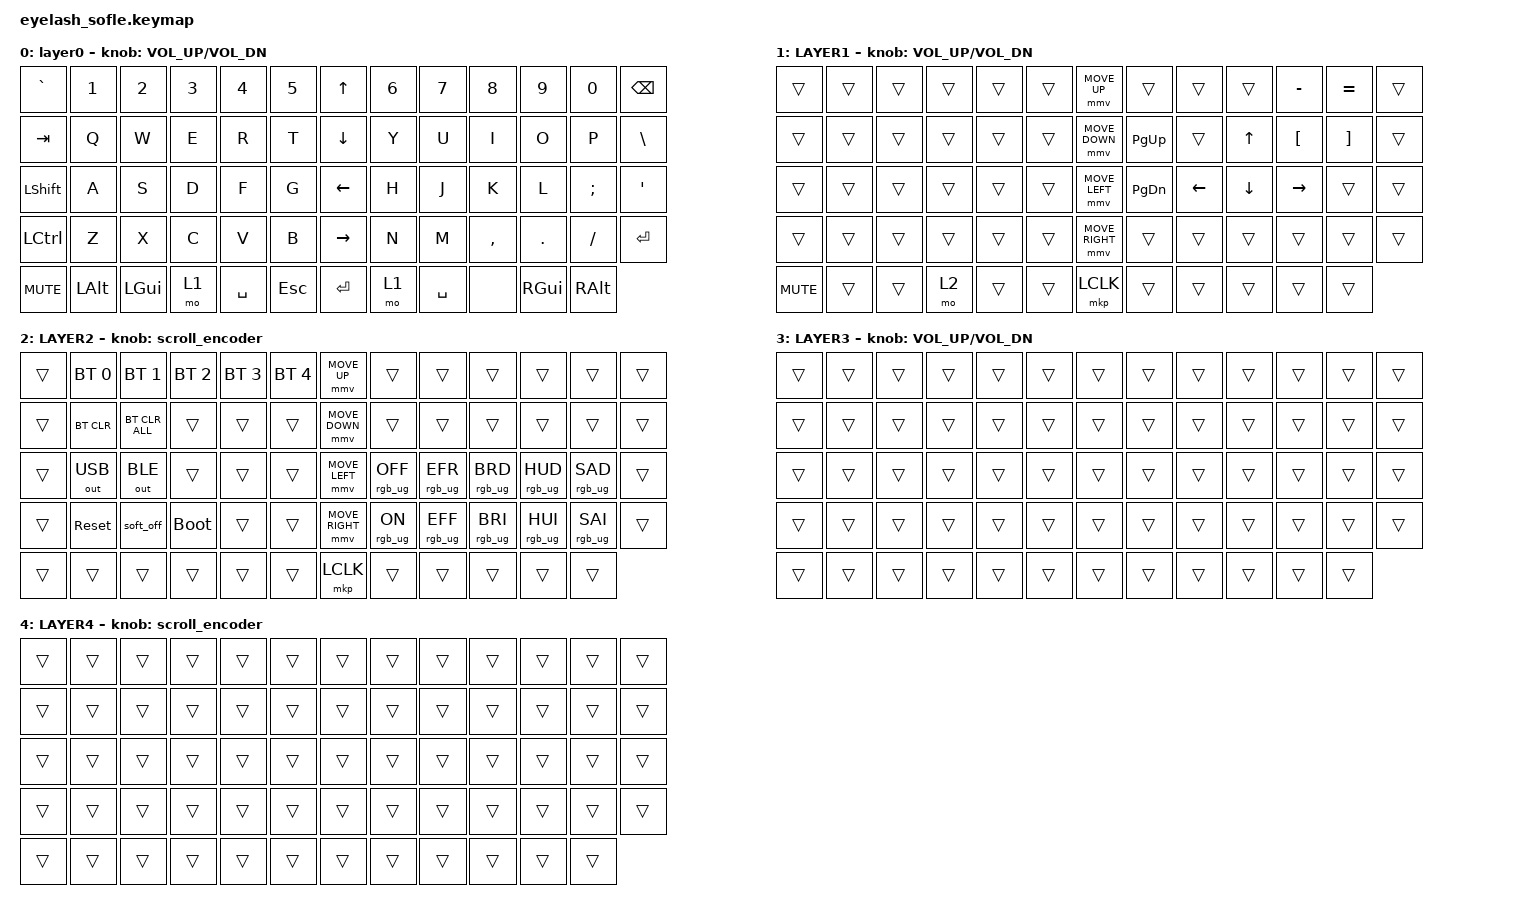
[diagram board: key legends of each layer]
#define ZMK_POINTING_DEFAULT_MOVE_VAL 1200  // 600
#define ZMK_POINTING_DEFAULT_SCRL_VAL 25   // 10

#include <input/processors.dtsi>
#include <zephyr/dt-bindings/input/input-event-codes.h>
#include <behaviors.dtsi>
#include <dt-bindings/zmk/bt.h>
#include <dt-bindings/zmk/keys.h>
#include <dt-bindings/zmk/outputs.h>
#include <dt-bindings/zmk/pointing.h>
#include <dt-bindings/zmk/rgb.h>

&mmv_input_listener { input-processors = <&zip_xy_scaler 2 1>; };

&msc_input_listener { input-processors = <&zip_scroll_scaler 2 1>; };

&msc {
    acceleration-exponent = <1>;      // 0
    time-to-max-speed-ms = <100>;       // 300
    delay-ms = <0>;                   // 0
};

&mmv {
    time-to-max-speed-ms = <500>;
    acceleration-exponent = <1>;
    trigger-period-ms = <16>;
};

&soft_off { hold-time-ms = <2000>; };

/ {
    scroll_encoder: scroll_encoder {
        compatible = "zmk,behavior-sensor-rotate";
        #sensor-binding-cells = <0>;
        bindings = <&msc SCRL_DOWN>, <&msc SCRL_UP>;

        tap-ms = <100>;
    };

    behaviors {
    };

    combos {
        compatible = "zmk,combos";

        softoff {
            bindings = <&soft_off>;
            key-positions = <14 28 40>;
        };
    };

    macros {
        SHIFT_MCLK: SHIFT_MCLK {
            compatible = "zmk,behavior-macro";
            #binding-cells = <0>;
            bindings =
                <&macro_press>,
                <&kp LEFT_SHIFT>,
                <&macro_press>,
                <&mkp MB3>,
                <&macro_pause_for_release>,
                <&macro_release>,
                <&kp LEFT_SHIFT &mkp MB3>;

            label = "SHIFT_MCLK";
        };
    };

    keymap {
        compatible = "zmk,keymap";

        layer0 {
            bindings = <
&kp GRAVE   &kp N1    &kp N2    &kp N3  &kp N4     &kp N5        &kp UP_ARROW     &kp N6  &kp N7     &kp N8     &kp N9    &kp N0    &kp BACKSPACE
&kp TAB     &kp Q     &kp W     &kp E   &kp R      &kp T         &kp DOWN_ARROW   &kp Y   &kp U      &kp I      &kp O     &kp P     &kp BSLH
&kp LSHIFT  &kp A     &kp S     &kp D   &kp F      &kp G         &kp LEFT_ARROW   &kp H   &kp J      &kp K      &kp L     &kp SEMI  &kp APOS
&kp LCTRL   &kp Z     &kp X     &kp C   &kp V      &kp B         &kp RIGHT_ARROW  &kp N   &kp M      &kp COMMA  &kp DOT   &kp FSLH  &kp ENTER
&kp C_MUTE  &kp LALT  &kp LGUI  &mo 1   &kp SPACE  &kp ESCAPE    &kp ENTER        &mo 1   &kp SPACE  &none      &kp RGUI  &kp RALT
            >;

            sensor-bindings = <&inc_dec_kp C_VOLUME_UP C_VOL_DN>;
            display-name = "layer0";
        };

        layer1 {
            bindings = <
&trans      &trans  &trans  &trans  &trans  &trans    &mmv MOVE_UP     &trans     &trans          &trans    &kp MINUS  &kp EQUAL  &trans
&trans      &trans  &trans  &trans  &trans  &trans    &mmv MOVE_DOWN   &kp PG_UP  &trans          &kp UP    &kp LBKT   &kp RBKT   &trans
&trans      &trans  &trans  &trans  &trans  &trans    &mmv MOVE_LEFT   &kp PG_DN  &kp LEFT_ARROW  &kp DOWN  &kp RIGHT  &trans     &trans
&trans      &trans  &trans  &trans  &trans  &trans    &mmv MOVE_RIGHT  &trans     &trans          &trans    &trans     &trans     &trans
&kp C_MUTE  &trans  &trans  &mo 2   &trans  &trans    &mkp LCLK        &trans     &trans          &trans    &trans     &trans
            >;

            sensor-bindings = <&inc_dec_kp C_VOLUME_UP C_VOL_DN>;
            display-name = "LAYER1";
        };

        layer2 {
            bindings = <
&trans  &bt BT_SEL 0  &bt BT_SEL 1    &bt BT_SEL 2  &bt BT_SEL 3  &bt BT_SEL 4    &mmv MOVE_UP     &trans           &trans           &trans           &trans           &trans           &trans
&trans  &bt BT_CLR    &bt BT_CLR_ALL  &trans        &trans        &trans          &mmv MOVE_DOWN   &trans           &trans           &trans           &trans           &trans           &trans
&trans  &out OUT_USB  &out OUT_BLE    &trans        &trans        &trans          &mmv MOVE_LEFT   &rgb_ug RGB_OFF  &rgb_ug RGB_EFR  &rgb_ug RGB_BRD  &rgb_ug RGB_HUD  &rgb_ug RGB_SAD  &trans
&trans  &sys_reset    &soft_off       &bootloader   &trans        &trans          &mmv MOVE_RIGHT  &rgb_ug RGB_ON   &rgb_ug RGB_EFF  &rgb_ug RGB_BRI  &rgb_ug RGB_HUI  &rgb_ug RGB_SAI  &trans
&trans  &trans        &trans          &trans        &trans        &trans          &mkp LCLK        &trans           &trans           &trans           &trans           &trans
            >;

            display-name = "LAYER2";
            sensor-bindings = <&scroll_encoder>;
        };

        layer3 {
            bindings = <
&trans  &trans  &trans  &trans  &trans  &trans    &trans  &trans  &trans  &trans  &trans  &trans  &trans
&trans  &trans  &trans  &trans  &trans  &trans    &trans  &trans  &trans  &trans  &trans  &trans  &trans
&trans  &trans  &trans  &trans  &trans  &trans    &trans  &trans  &trans  &trans  &trans  &trans  &trans
&trans  &trans  &trans  &trans  &trans  &trans    &trans  &trans  &trans  &trans  &trans  &trans  &trans
&trans  &trans  &trans  &trans  &trans  &trans    &trans  &trans  &trans  &trans  &trans  &trans
            >;

            display-name = "LAYER3";
            sensor-bindings = <&inc_dec_kp C_VOLUME_UP C_VOL_DN>;
        };

        layer4 {
            bindings = <
&trans  &trans  &trans  &trans  &trans  &trans    &trans  &trans  &trans  &trans  &trans  &trans  &trans
&trans  &trans  &trans  &trans  &trans  &trans    &trans  &trans  &trans  &trans  &trans  &trans  &trans
&trans  &trans  &trans  &trans  &trans  &trans    &trans  &trans  &trans  &trans  &trans  &trans  &trans
&trans  &trans  &trans  &trans  &trans  &trans    &trans  &trans  &trans  &trans  &trans  &trans  &trans
&trans  &trans  &trans  &trans  &trans  &trans    &trans  &trans  &trans  &trans  &trans  &trans
            >;

            display-name = "LAYER4";
            sensor-bindings = <&scroll_encoder>;
        };
    };
};
